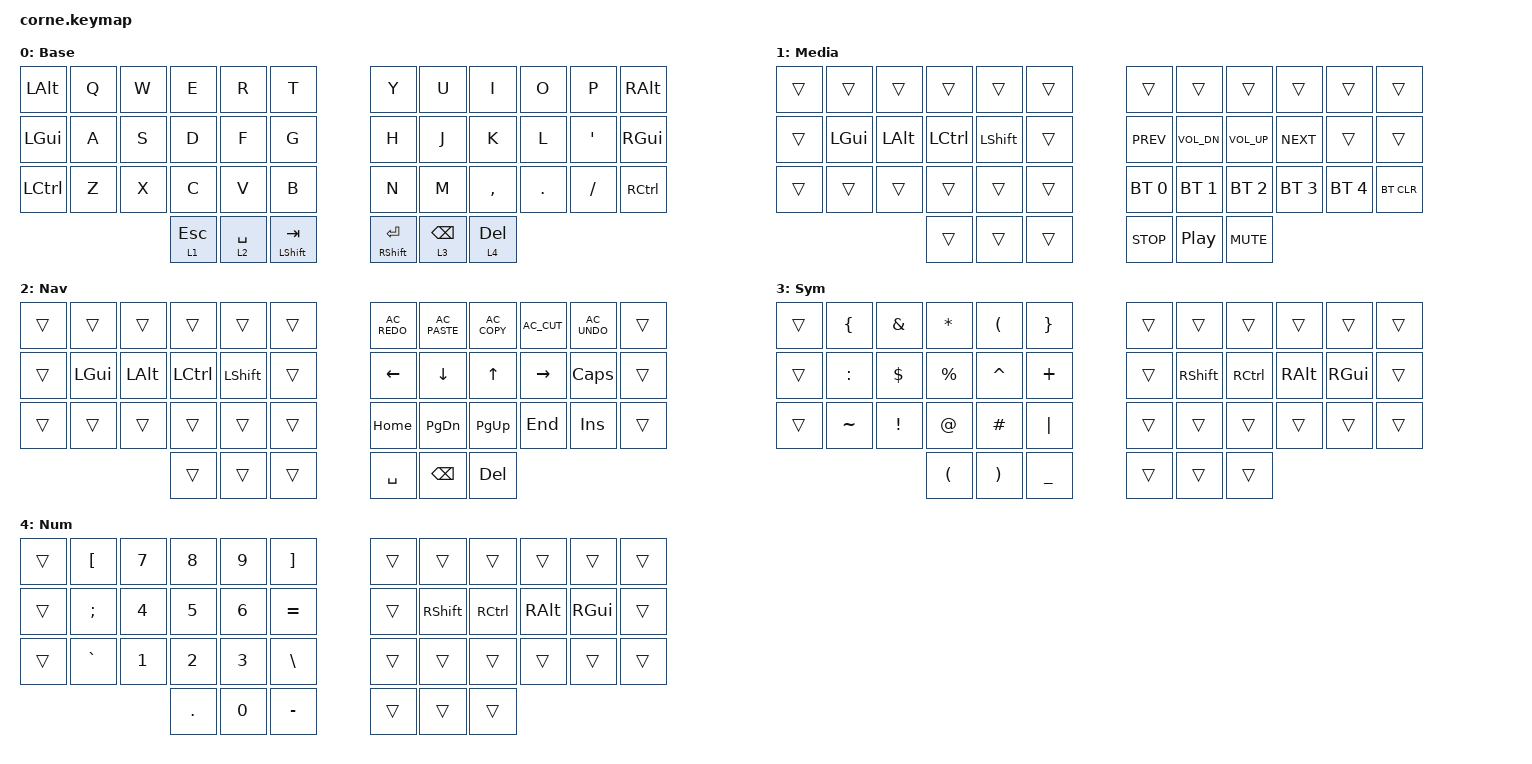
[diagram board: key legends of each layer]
/*
 * Copyright (c) 2020 The ZMK Contributors
 *
 * SPDX-License-Identifier: MIT
 */

#include <behaviors.dtsi>
#include <dt-bindings/zmk/bt.h>
#include <dt-bindings/zmk/keys.h>

#define DEF 0
#define MED 1
#define NAV 2
#define MSE 3
#define SYM 4
#define NUM 5
#define FUN 6

/ {
    behaviors {
        bt_0_mgmt: bt_0_mgmt {
            compatible = "zmk,behavior-mod-morph";
            label = "BT_0_MGMT";
            bindings = <&bt BT_SEL 0>, <&bt BT_SEL 0 &bt BT_CLR>;

            #binding-cells = <0>;
            mods = <(MOD_LSFT|MOD_RSFT)>;
        };

        bt_1_mgmt: bt_1_mgmt {
            compatible = "zmk,behavior-mod-morph";
            label = "BT_1_MGMT";
            bindings = <&bt BT_SEL 1>, <&bt BT_SEL 1 &bt BT_CLR>;

            #binding-cells = <0>;
            mods = <(MOD_LSFT|MOD_RSFT)>;
        };

        bt_2_mgmt: bt_2_mgmt {
            compatible = "zmk,behavior-mod-morph";
            label = "BT_2_MGMT";
            bindings = <&bt BT_SEL 2>, <&bt BT_SEL 2 &bt BT_CLR>;

            #binding-cells = <0>;
            mods = <(MOD_LSFT|MOD_RSFT)>;
        };

        bt_3_mgmt: bt_3_mgmt {
            compatible = "zmk,behavior-mod-morph";
            label = "BT_3_MGMT";
            bindings = <&bt BT_SEL 3>, <&bt BT_SEL 3 &bt BT_CLR>;

            #binding-cells = <0>;
            mods = <(MOD_LSFT|MOD_RSFT)>;
        };

        bt_4_mgmt: bt_4_mgmt {
            compatible = "zmk,behavior-mod-morph";
            label = "BT_4_MGMT";
            bindings = <&bt BT_SEL 4>, <&bt BT_SEL 4 &bt BT_CLR>;

            #binding-cells = <0>;
            mods = <(MOD_LSFT|MOD_RSFT)>;
        };
    };

    keymap {
        compatible = "zmk,keymap";

        Base {
            display-name = "Base";
            bindings = <
&kp LALT   &kp Q  &kp W  &kp E      &kp R        &kp T             &kp Y           &kp U       &kp I      &kp O    &kp P     &kp RALT
&kp LGUI   &kp A  &kp S  &kp D      &kp F        &kp G             &kp H           &kp J       &kp K      &kp L    &kp SQT   &kp RGUI
&kp LCTRL  &kp Z  &kp X  &kp C      &kp V        &kp B             &kp N           &kp M       &kp COMMA  &kp DOT  &kp FSLH  &kp RCTRL
                         &lt 1 ESC  &lt 2 SPACE  &mt LSHIFT TAB    &mt RSHIFT RET  &lt 3 BSPC  &lt 4 DEL
            >;
        };

        Media {
            display-name = "Media";
            bindings = <
&trans  &trans    &trans    &trans     &trans     &trans    &trans        &trans        &trans        &trans        &trans        &trans
&trans  &kp LGUI  &kp LALT  &kp LCTRL  &kp LSHFT  &trans    &kp C_PREV    &kp C_VOL_DN  &kp C_VOL_UP  &kp C_NEXT    &trans        &trans
&trans  &trans    &trans    &trans     &trans     &trans    &bt BT_SEL 0  &bt BT_SEL 1  &bt BT_SEL 2  &bt BT_SEL 3  &bt BT_SEL 4  &bt BT_CLR
                            &trans     &trans     &trans    &kp C_STOP    &kp C_PP      &kp K_MUTE
            >;
        };

        Nav {
            display-name = "Nav";
            bindings = <
&trans  &trans    &trans    &trans     &trans     &trans    &kp C_AC_REDO  &kp C_AC_PASTE  &kp C_AC_COPY  &kp C_AC_CUT  &kp C_AC_UNDO  &trans
&trans  &kp LGUI  &kp LALT  &kp LCTRL  &kp LSHFT  &trans    &kp LEFT       &kp DOWN        &kp UP         &kp RIGHT     &kp CAPS       &trans
&trans  &trans    &trans    &trans     &trans     &trans    &kp HOME       &kp PAGE_DOWN   &kp PG_UP      &kp END       &kp INS        &trans
                            &trans     &trans     &trans    &kp SPACE      &kp BSPC        &kp DEL
            >;
        };

        Sym {
            display-name = "Sym";
            bindings = <
&trans  &kp LBRC   &kp AMPS  &kp STAR   &kp LPAR   &kp RBRC     &trans  &trans     &trans     &trans    &trans    &trans
&trans  &kp COLON  &kp DLLR  &kp PRCNT  &kp CARET  &kp PLUS     &trans  &kp RSHFT  &kp RCTRL  &kp RALT  &kp RGUI  &trans
&trans  &kp TILDE  &kp EXCL  &kp AT     &kp HASH   &kp PIPE     &trans  &trans     &trans     &trans    &trans    &trans
                             &kp LPAR   &kp RPAR   &kp UNDER    &trans  &trans     &trans
            >;
        };

        Num {
            display-name = "Num";
            bindings = <
&trans  &kp LBKT   &kp N7  &kp N8   &kp N9  &kp RBKT     &trans  &trans     &trans     &trans    &trans    &trans
&trans  &kp SEMI   &kp N4  &kp N5   &kp N6  &kp EQUAL    &trans  &kp RSHFT  &kp RCTRL  &kp RALT  &kp RGUI  &trans
&trans  &kp GRAVE  &kp N1  &kp N2   &kp N3  &kp BSLH     &trans  &trans     &trans     &trans    &trans    &trans
                           &kp DOT  &kp N0  &kp MINUS    &trans  &trans     &trans
            >;
        };
    };
};
